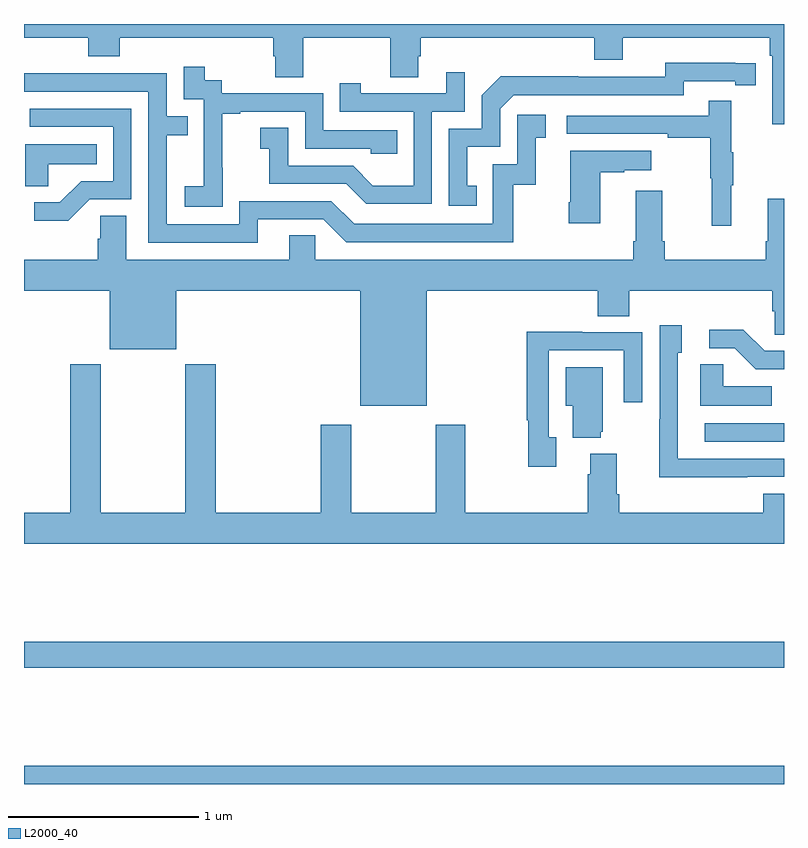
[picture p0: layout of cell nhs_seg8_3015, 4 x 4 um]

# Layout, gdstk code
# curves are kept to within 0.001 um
import gdstk
lib = gdstk.Library(unit=1e-6, precision=1e-09)
def R(c, l, rs):  # rectangles x0, y0, x1, y1
    for r in rs: c.add(gdstk.rectangle(r[:2], r[2:], *l))
def P(c, l, *ps):  # polygons
    for p in ps: c.add(gdstk.Polygon(p, *l))
L2000_40 = (2000, 40)

nhs_seg8_3015 = lib.new_cell('nhs_seg8_3015')
R(nhs_seg8_3015, L2000_40, [(299,1117.9,303,1117.996), (299,1118.512,303,1118.648), (302.583,1119.702,303,1119.798)])
P(nhs_seg8_3015, L2000_40, [(303,1121.9),(299,1121.9),(299,1121.828),(299.339,1121.828),(299.339,1121.729),(299.504,1121.729),(299.504,1121.828),(300.311,1121.828),(300.311,1121.73),(300.323,1121.73),(300.323,1121.62),(300.471,1121.62),(300.471,1121.828),(300.928,1121.828),(300.928,1121.62),(301.075,1121.62),(301.075,1121.73),(301.088,1121.73),(301.088,1121.828),(302,1121.828),(302,1121.711),(302.152,1121.711),(302.152,1121.828),(302.924,1121.828),(302.924,1121.732),(302.937,1121.732),(302.937,1121.373),(303,1121.373)],
  [(301.382,1121.049),(301.333,1121.049),(301.333,1121.253),(301.506,1121.253),(301.506,1121.454),(301.578,1121.526),(302.472,1121.526),(302.472,1121.598),(302.744,1121.598),(302.744,1121.578),(302.852,1121.578),(302.852,1121.694),(302.376,1121.695),(302.376,1121.622),(301.916,1121.622),(301.916,1121.624),(301.508,1121.624),(301.41,1121.526),(301.41,1121.349),(301.236,1121.349),(301.236,1120.944),(301.382,1120.944)],
  [(300.045,1121.143),(300.044,1121.143),(300.044,1121.427),(300.139,1121.427),(300.139,1121.439),(300.48,1121.439),(300.48,1121.244),(300.825,1121.244),(300.825,1121.217),(300.965,1121.217),(300.965,1121.34),(300.576,1121.34),(300.576,1121.535),(300.042,1121.535),(300.042,1121.604),(299.95,1121.604),(299.95,1121.674),(299.841,1121.674),(299.841,1121.505),(299.946,1121.505),(299.946,1121.276),(299.945,1121.276),(299.945,1121.047),(299.847,1121.047),(299.847,1120.937),(300.045,1120.937)],
  [(301.146,1121.439),(301.32,1121.439),(301.32,1121.647),(301.223,1121.647),(301.223,1121.535),(300.772,1121.535),(300.772,1121.587),(300.661,1121.587),(300.661,1121.439),(301.05,1121.439),(301.05,1121.05),(300.836,1121.05),(300.732,1121.154),(300.39,1121.154),(300.39,1121.353),(300.243,1121.353),(300.243,1121.243),(300.292,1121.243),(300.292,1121.058),(300.695,1121.058),(300.8,1120.953),(301.146,1120.953)],
  [(300.229,1120.872),(300.576,1120.872),(300.696,1120.752),(301.576,1120.752),(301.576,1121.055),(301.694,1121.055),(301.694,1121.301),(301.747,1121.301),(301.747,1121.422),(301.596,1121.422),(301.596,1121.163),(301.467,1121.163),(301.467,1120.848),(300.738,1120.848),(300.618,1120.968),(300.132,1120.968),(300.132,1120.845),(299.751,1120.845),(299.751,1121.314),(299.861,1121.314),(299.861,1121.415),(299.751,1121.415),(299.751,1121.64),(299.255,1121.64),(299.255,1121.642),(299,1121.642),(299,1121.544),(299.655,1121.544),(299.655,1120.749),(300.229,1120.749)],
  [(302.723,1121.051),(302.734,1121.051),(302.734,1121.225),(302.723,1121.225),(302.723,1121.497),(302.605,1121.497),(302.605,1121.418),(301.857,1121.418),(301.857,1121.322),(302.389,1121.322),(302.389,1121.302),(302.613,1121.302),(302.613,1121.088),(302.62,1121.088),(302.62,1120.839),(302.723,1120.839)],
  [(299.346,1120.977),(299.565,1120.977),(299.565,1121.454),(299.031,1121.454),(299.031,1121.358),(299.469,1121.358),(299.469,1121.073),(299.3,1121.073),(299.189,1120.962),(299.055,1120.962),(299.055,1120.865),(299.233,1120.865)],
  [(299.127,1121.162),(299.384,1121.162),(299.384,1121.266),(299.006,1121.266),(299.006,1121.047),(299.127,1121.047)],
  [(302.032,1121.119),(302.159,1121.119),(302.159,1121.129),(302.302,1121.129),(302.302,1121.233),(301.874,1121.233),(301.874,1120.963),(301.867,1120.963),(301.867,1120.851),(302.032,1120.851)],
  [(300.77,1119.89),(301.12,1119.89),(301.12,1120.496),(302.021,1120.496),(302.021,1120.363),(302.186,1120.363),(302.186,1120.496),(302.939,1120.496),(302.939,1120.387),(302.952,1120.387),(302.952,1120.264),(303,1120.264),(303,1120.981),(302.915,1120.981),(302.915,1120.756),(302.903,1120.756),(302.903,1120.66),(302.372,1120.66),(302.372,1120.756),(302.359,1120.756),(302.359,1121.023),(302.219,1121.023),(302.219,1120.756),(302.207,1120.756),(302.207,1120.66),(300.534,1120.66),(300.534,1120.787),(300.395,1120.787),(300.395,1120.66),(299.539,1120.66),(299.539,1120.892),(299.4,1120.892),(299.4,1120.769),(299.387,1120.769),(299.387,1120.66),(299,1120.66),(299,1120.496),(299.45,1120.496),(299.45,1120.187),(299.8,1120.187),(299.8,1120.496),(300.77,1120.496)],
  [(302.807,1119.516),(303,1119.516),(303,1119.612),(302.442,1119.612),(302.442,1120.17),(302.461,1120.17),(302.461,1120.315),(302.346,1120.315),(302.346,1119.821),(302.344,1119.821),(302.344,1119.515),(302.807,1119.515)],
  [(303,1120.179),(302.898,1120.179),(302.785,1120.292),(302.607,1120.292),(302.607,1120.194),(302.741,1120.194),(302.852,1120.083),(303,1120.083)],
  [(301.801,1119.726),(301.761,1119.726),(301.761,1120.182),(302.157,1120.182),(302.157,1119.909),(302.253,1119.909),(302.253,1120.278),(301.937,1120.278),(301.937,1120.28),(301.645,1120.28),(301.645,1119.814),(301.653,1119.814),(301.653,1119.57),(301.801,1119.57)],
  [(302.936,1119.994),(302.679,1119.994),(302.679,1120.109),(302.558,1120.109),(302.558,1119.89),(302.936,1119.89)],
  [(303,1119.427),(302.891,1119.427),(302.891,1119.328),(302.132,1119.328),(302.132,1119.424),(302.119,1119.424),(302.119,1119.637),(301.979,1119.637),(301.979,1119.53),(301.967,1119.53),(301.967,1119.328),(301.323,1119.328),(301.323,1119.79),(301.168,1119.79),(301.168,1119.328),(300.723,1119.328),(300.723,1119.79),(300.563,1119.79),(300.563,1119.328),(300.008,1119.328),(300.008,1120.108),(299.848,1120.108),(299.848,1119.328),(299.403,1119.328),(299.403,1120.108),(299.243,1120.108),(299.243,1119.328),(299,1119.328),(299,1119.164),(303,1119.164)],
  [(302.036,1119.753),(302.047,1119.753),(302.047,1120.093),(301.85,1120.093),(301.85,1119.89),(301.889,1119.89),(301.889,1119.722),(302.036,1119.722)])

lib.write_gds('nhs_seg8_3015.gds')
